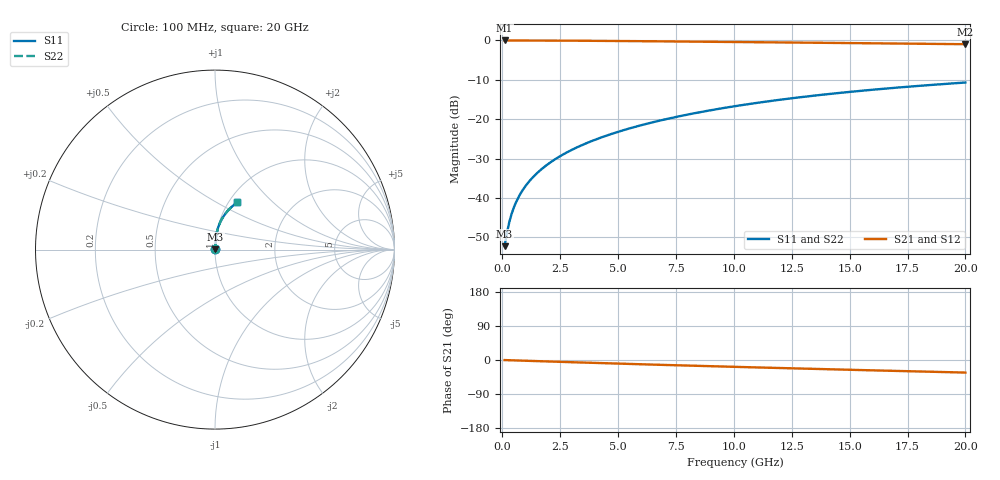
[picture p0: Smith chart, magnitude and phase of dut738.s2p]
! Touchstone file exported from HFSS 2024.1.0
!  File:  C:/UserFiles/LocalFiles/RDL_TSV_Batchsim/temp_RDL_top_738_1779851349.aedt
!  Generated:  11:11:02 AM May 27, 2026
!  Design:  RDL_top
!  Project:  temp_RDL_top_738_1779851349
!  Setup:  Setup1
!  Solution:  Sweep
! Variables:
!  dtsv = 10.80580581um
!  hbump = 3um
!  htsv = 87.37um
!  ldown = 100um
!  lrdl = 488.05um
!  p = 40
!  p1 = 44.7um
!  rhole = 1um
!  t = 450um
!  tdown = 3.915915916um
!  trdl = 4.66um
!  wdown = 15.38538539um
!  wrdl = 21.12um
# GHz S MA R 50.000000
! Terminal data exported
! Port[1] = Box2_T1
! Port[2] = Box2_T2
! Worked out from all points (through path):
!   200 points, 100 MHz to 20 GHz, reference 50 ohm
!   highest |S21| = -0.02 dB at 100 MHz (marker M1); lowest = -1.0 dB at 20 GHz (marker M2)
!   group delay of S21, straight-line fit = 4.56 ps
!   lowest |S11| = -52.3 dB at 100 MHz (marker M3), VSWR 1.00, Z = 50.2 + j0.151 ohm
!   |S11| at or under -10 dB: start of sweep to end of sweep
!   |S22| runs from -52.3 to -10.7 dB; largest |S21 - S12| = 3.4e-15
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0.1  0.00244 38.0  0.9981 -0.2  0.9981 -0.2  0.00244 38.0
! Gamma 0 0 0 0
! Port Impedance 50 0 50 0
0.2  0.003587 56.2  0.9979 -0.4  0.9979 -0.4  0.003587 56.2
0.3  0.004898 64.7  0.9978 -0.6  0.9978 -0.6  0.004899 64.7
0.4  0.006241 69.3  0.9976 -0.8  0.9976 -0.8  0.006243 69.3
0.5  0.007577 72.1  0.9975 -1.0  0.9975 -1.0  0.007582 72.2
0.6  0.008901 74.2  0.9974 -1.2  0.9974 -1.2  0.008908 74.2
0.8  0.01152 76.9  0.9971 -1.6  0.9971 -1.6  0.01153 76.9
1.1  0.01541 79.6  0.9967 -2.2  0.9967 -2.2  0.01542 79.6
1.5  0.02062 81.8  0.9959 -3.0  0.9959 -3.0  0.02063 81.8
1.8  0.02457 82.9  0.9952 -3.5  0.9952 -3.5  0.02458 82.8
2.1  0.02855 83.7  0.9945 -4.1  0.9945 -4.1  0.02856 83.6
2.7  0.03663 84.7  0.9926 -5.3  0.9926 -5.3  0.03663 84.6
3.5  0.04764 85.3  0.9895 -6.8  0.9895 -6.8  0.04763 85.3
4.2  0.0575 85.4  0.9864 -8.1  0.9864 -8.1  0.05749 85.4
5  0.06903 85.2  0.9826 -9.5  0.9826 -9.5  0.06901 85.2
6.8  0.09586 84.0  0.9729 -12.7  0.9729 -12.7  0.09583 84.0
8.4  0.1205 82.3  0.9637 -15.4  0.9637 -15.4  0.1204 82.2
10.1  0.1469 80.0  0.9538 -18.2  0.9538 -18.2  0.1469 80.0
11.7  0.1718 77.6  0.9443 -20.7  0.9443 -20.7  0.1717 77.6
13.4  0.1979 75.0  0.9342 -23.4  0.9342 -23.4  0.1978 75.0
16.7  0.2465 69.7  0.9145 -28.4  0.9145 -28.4  0.2464 69.7
20  0.2917 64.6  0.8947 -33.2  0.8947 -33.2  0.2915 64.5
